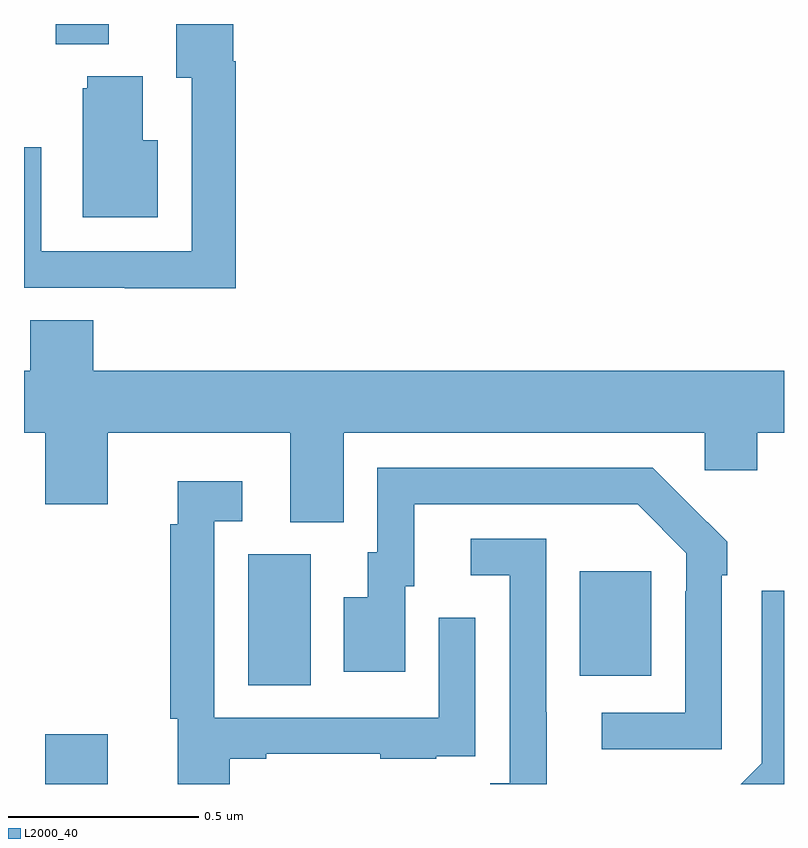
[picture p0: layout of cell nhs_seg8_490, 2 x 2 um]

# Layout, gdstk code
import gdstk
lib = gdstk.Library(unit=1e-6, precision=1e-09)
def R(c, l, rs):  # rectangles x0, y0, x1, y1
    for r in rs: c.add(gdstk.rectangle(r[:2], r[2:], *l))
def P(c, l, *ps):  # polygons
    for p in ps: c.add(gdstk.Polygon(p, *l))
L2000_40 = (2000, 40)

nhs_seg8_490 = lib.new_cell('nhs_seg8_490')
R(nhs_seg8_490, L2000_40, [(117.056,1124.9,117.22,1125.031), (117.59,1125.16,117.754,1125.504), (118.463,1125.185,118.651,1125.46), (117.083,1126.847,117.223,1126.9)])
P(nhs_seg8_490, L2000_40, [(117.557,1126.802),(117.55,1126.802),(117.55,1126.9),(117.401,1126.9),(117.401,1126.759),(117.441,1126.759),(117.441,1126.302),(117.045,1126.302),(117.045,1126.576),(117,1126.576),(117,1126.206),(117.265,1126.206),(117.265,1126.205),(117.557,1126.205)],
  [(117.352,1126.594),(117.313,1126.594),(117.313,1126.762),(117.167,1126.762),(117.167,1126.731),(117.155,1126.731),(117.155,1126.391),(117.352,1126.391)],
  [(117.841,1125.824),(118.791,1125.824),(118.791,1125.726),(118.93,1125.726),(118.93,1125.824),(119,1125.824),(119,1125.988),(117.182,1125.988),(117.182,1126.121),(117.017,1126.121),(117.017,1125.988),(117,1125.988),(117,1125.824),(117.056,1125.824),(117.056,1125.636),(117.22,1125.636),(117.22,1125.824),(117.701,1125.824),(117.701,1125.589),(117.841,1125.589)],
  [(118.836,1125.449),(118.851,1125.449),(118.851,1125.537),(118.746,1125.642),(118.745,1125.641),(118.654,1125.732),(117.93,1125.732),(117.93,1125.51),(117.905,1125.51),(117.905,1125.391),(117.842,1125.391),(117.842,1125.195),(118.003,1125.195),(118.003,1125.42),(118.027,1125.42),(118.027,1125.636),(118.615,1125.636),(118.743,1125.507),(118.743,1125.407),(118.74,1125.407),(118.74,1125.087),(118.521,1125.087),(118.521,1124.991),(118.836,1124.991)],
  [(117.541,1124.967),(117.637,1124.967),(117.637,1124.979),(117.937,1124.979),(117.937,1124.967),(118.085,1124.967),(118.085,1124.973),(118.187,1124.973),(118.187,1125.082),(118.188,1125.082),(118.188,1125.337),(118.092,1125.337),(118.092,1125.075),(117.501,1125.075),(117.501,1125.591),(117.574,1125.591),(117.574,1125.697),(117.404,1125.697),(117.404,1125.584),(117.385,1125.584),(117.385,1125.072),(117.404,1125.072),(117.404,1124.9),(117.541,1124.9)],
  [(118.375,1125.089),(118.374,1125.089),(118.374,1125.546),(118.176,1125.546),(118.176,1125.45),(118.278,1125.45),(118.278,1124.902),(118.227,1124.902),(118.227,1124.9),(118.375,1124.9)],
  [(119,1125.409),(118.941,1125.409),(118.941,1124.955),(118.886,1124.9),(119,1124.9)])

lib.write_gds('nhs_seg8_490.gds')
